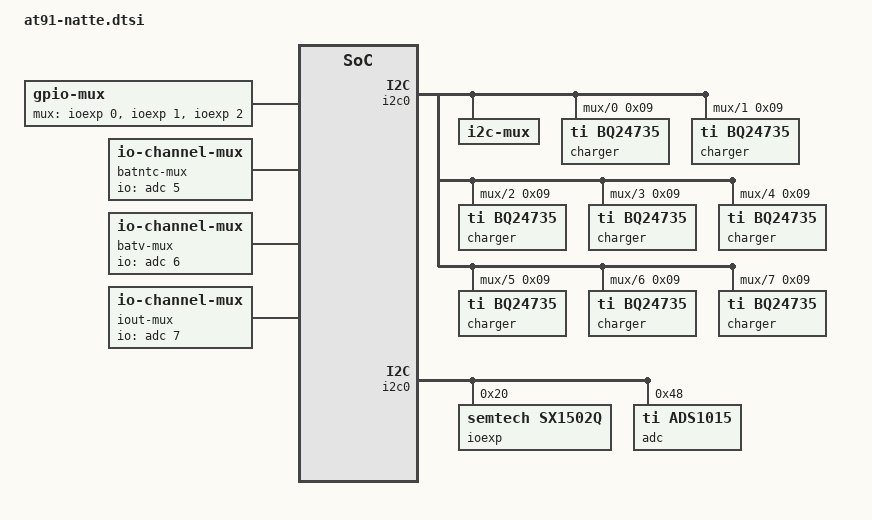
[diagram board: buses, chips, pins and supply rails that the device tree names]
// SPDX-License-Identifier: GPL-2.0+
/*
 * at91-natte.dts - Device Tree include file for the Natte board
 *
 * Copyright (C) 2017 Axentia Technologies AB
 *
 * Author: Peter Rosin <peda@axentia.se>
 */

/ {
	mux: mux-controller {
		compatible = "gpio-mux";
		#mux-control-cells = <0>;

		mux-gpios = <&ioexp 0 GPIO_ACTIVE_HIGH>,
			    <&ioexp 1 GPIO_ACTIVE_HIGH>,
			    <&ioexp 2 GPIO_ACTIVE_HIGH>;
	};

	batntc-mux {
		compatible = "io-channel-mux";
		io-channels = <&adc 5>;
		io-channel-names = "parent";
		mux-controls = <&mux>;

		channels =
			"batntc0", "batntc1", "batntc2", "batntc3",
			"batntc4", "batntc5", "batntc6", "batntc7";
	};

	batv-mux {
		compatible = "io-channel-mux";
		io-channels = <&adc 6>;
		io-channel-names = "parent";
		mux-controls = <&mux>;

		channels =
			"batv0", "batv1", "batv2", "batv3",
			"batv4", "batv5", "batv6", "batv7";
	};

	iout-mux {
		compatible = "io-channel-mux";
		io-channels = <&adc 7>;
		io-channel-names = "parent";
		mux-controls = <&mux>;

		channels =
			"iout0", "iout1", "iout2", "iout3",
			"iout4", "iout5", "iout6", "iout7";
	};

	i2c-mux {
		compatible = "i2c-mux";
		mux-locked;
		i2c-parent = <&i2c0>;
		mux-controls = <&mux>;

		#address-cells = <1>;
		#size-cells = <0>;

		i2c@0 {
			reg = <0>;
			#address-cells = <1>;
			#size-cells = <0>;

			charger@9 {
				compatible = "ti,bq24735";
				reg = <0x9>;

				ti,charge-current = <2000>;
				ti,charge-voltage = <16800>;

				poll-interval = <20000>;
			};
		};

		i2c@1 {
			reg = <1>;
			#address-cells = <1>;
			#size-cells = <0>;

			charger@9 {
				compatible = "ti,bq24735";
				reg = <0x9>;

				ti,charge-current = <2000>;
				ti,charge-voltage = <16800>;

				poll-interval = <20000>;
			};
		};

		i2c@2 {
			reg = <2>;
			#address-cells = <1>;
			#size-cells = <0>;

			charger@9 {
				compatible = "ti,bq24735";
				reg = <0x9>;

				ti,charge-current = <2000>;
				ti,charge-voltage = <16800>;

				poll-interval = <20000>;
			};
		};

		i2c@3 {
			reg = <3>;
			#address-cells = <1>;
			#size-cells = <0>;

			charger@9 {
				compatible = "ti,bq24735";
				reg = <0x9>;

				ti,charge-current = <2000>;
				ti,charge-voltage = <16800>;

				poll-interval = <20000>;
			};
		};

		i2c@4 {
			reg = <4>;
			#address-cells = <1>;
			#size-cells = <0>;

			charger@9 {
				compatible = "ti,bq24735";
				reg = <0x9>;

				ti,charge-current = <2000>;
				ti,charge-voltage = <16800>;

				poll-interval = <20000>;
			};
		};

		i2c@5 {
			reg = <5>;
			#address-cells = <1>;
			#size-cells = <0>;

			charger@9 {
				compatible = "ti,bq24735";
				reg = <0x9>;

				ti,charge-current = <2000>;
				ti,charge-voltage = <16800>;

				poll-interval = <20000>;
			};
		};

		i2c@6 {
			reg = <6>;
			#address-cells = <1>;
			#size-cells = <0>;

			charger@9 {
				compatible = "ti,bq24735";
				reg = <0x9>;

				ti,charge-current = <2000>;
				ti,charge-voltage = <16800>;

				poll-interval = <20000>;
			};
		};

		i2c@7 {
			reg = <7>;
			#address-cells = <1>;
			#size-cells = <0>;

			charger@9 {
				compatible = "ti,bq24735";
				reg = <0x9>;

				ti,charge-current = <2000>;
				ti,charge-voltage = <16800>;

				poll-interval = <20000>;
			};
		};
	};
};

&i2c0 {
	status = "okay";

	ioexp: ioexp@20 {
		#gpio-cells = <2>;
		compatible = "semtech,sx1502q";
		reg = <0x20>;

		gpio-controller;
		ngpios = <8>;

		pinctrl-names = "default";
		pinctrl-0 = <&gpio3_cfg_pins>;

		gpio3_cfg_pins: gpio3_cfg {
			pins = "gpio3";
			bias-pull-up;
		};
	};

	adc: adc@48 {
		compatible = "ti,ads1015";
		reg = <0x48>;
		#io-channel-cells = <1>;

		#address-cells = <1>;
		#size-cells = <0>;

		channel@4 {
			reg = <4>;
			ti,gain = <2>;
			ti,datarate = <4>;
		};

		channel@5 {
			reg = <5>;
			ti,gain = <2>;
			ti,datarate = <4>;
		};

		channel@6 {
			reg = <6>;
			ti,gain = <1>;
			ti,datarate = <4>;
		};

		channel@7 {
			reg = <7>;
			ti,gain = <3>;
			ti,datarate = <4>;
		};
	};
};
